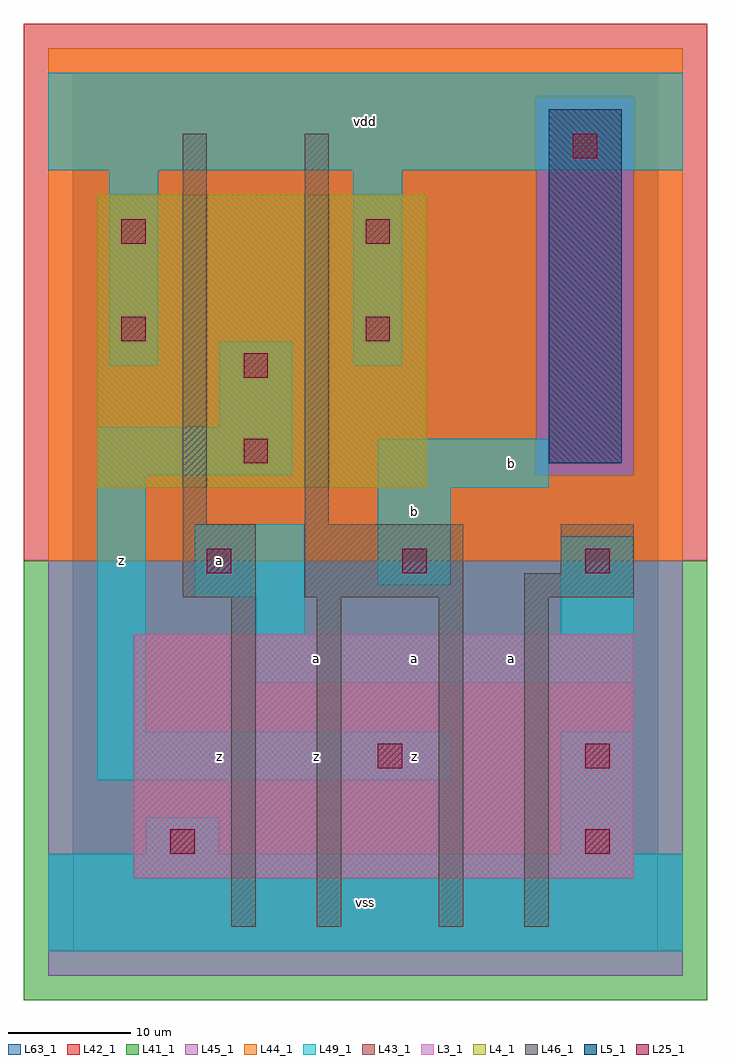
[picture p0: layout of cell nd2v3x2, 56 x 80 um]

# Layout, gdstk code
import gdstk
lib = gdstk.Library(unit=1e-6, precision=1e-09)
def R(c, l, rs):  # rectangles x0, y0, x1, y1
    for r in rs: c.add(gdstk.rectangle(r[:2], r[2:], *l))
L3_1 = (3, 1)
L4_1 = (4, 1)
L5_1 = (5, 1)
L25_1 = (25, 1)
L41_1 = (41, 1)
L42_1 = (42, 1)
L43_1 = (43, 1)
L44_1 = (44, 1)
L45_1 = (45, 1)
L46_1 = (46, 1)
L49_1 = (49, 1)
L63_1 = (63, 1)

nd2v3x2 = lib.new_cell('nd2v3x2')
R(nd2v3x2, L3_1, [(5,6,46,26)])
R(nd2v3x2, L4_1, [(2,38,29,62)])
R(nd2v3x2, L5_1, [(39,40,45,69)])
R(nd2v3x2, L25_1, [(8,8,10,10), (42,8,44,10), (25,15,27,17), (42,15,44,17), (11,31,13,33), (27,31,29,33), (42,31,44,33), (14,40,16,42), (14,47,16,49), (4,50,6,52), (24,50,26,52), (4,58,6,60), (24,58,26,60), (41,65,43,67)])
R(nd2v3x2, L41_1, [(-4,-4,52,32)])
R(nd2v3x2, L42_1, [(-4,32,52,76)])
R(nd2v3x2, L43_1, [(5,6,46,26), (2,38,29,62), (39,40,45,69)])
R(nd2v3x2, L44_1, [(-2,32,50,39), (-2,39,38,70), (46,39,50,70), (-2,70,50,74)])
R(nd2v3x2, L45_1, [(-2,-2,50,32), (38,39,46,70)])
R(nd2v3x2, L46_1, [(13,2,15,29), (20,2,22,29), (30,2,32,29), (37,2,39,29), (9,29,15,35), (19,29,32,35), (37,29,46,31), (40,31,46,35), (9,35,11,67), (19,35,21,67)])
R(nd2v3x2, L49_1, [(-2,0,50,8), (6,8,12,11), (40,8,46,18), (2,14,31,18), (2,18,6,39), (15,22,46,26), (15,26,19,29), (40,26,46,34), (10,29,19,35), (25,30,31,38), (25,38,39,42), (2,39,18,43), (12,43,18,50), (3,48,7,64), (23,48,27,64), (-2,64,50,72)])
R(nd2v3x2, L63_1, [(0,0,48,72)])
nd2v3x2.add(gdstk.Label('z', (4,32), layer=49, texttype=1))
nd2v3x2.add(gdstk.Label('z', (20,16), layer=49, texttype=1))
nd2v3x2.add(gdstk.Label('z', (12,16), layer=49, texttype=1))
nd2v3x2.add(gdstk.Label('a', (12,32), layer=49, texttype=1))
nd2v3x2.add(gdstk.Label('a', (20,24), layer=49, texttype=1))
nd2v3x2.add(gdstk.Label('vss', (24,4), layer=49, texttype=1))
nd2v3x2.add(gdstk.Label('z', (28,16), layer=49, texttype=1))
nd2v3x2.add(gdstk.Label('a', (28,24), layer=49, texttype=1))
nd2v3x2.add(gdstk.Label('b', (28,36), layer=49, texttype=1))
nd2v3x2.add(gdstk.Label('vdd', (24,68), layer=49, texttype=1))
nd2v3x2.add(gdstk.Label('a', (36,24), layer=49, texttype=1))
nd2v3x2.add(gdstk.Label('b', (36,40), layer=49, texttype=1))

lib.write_gds('nd2v3x2.gds')
